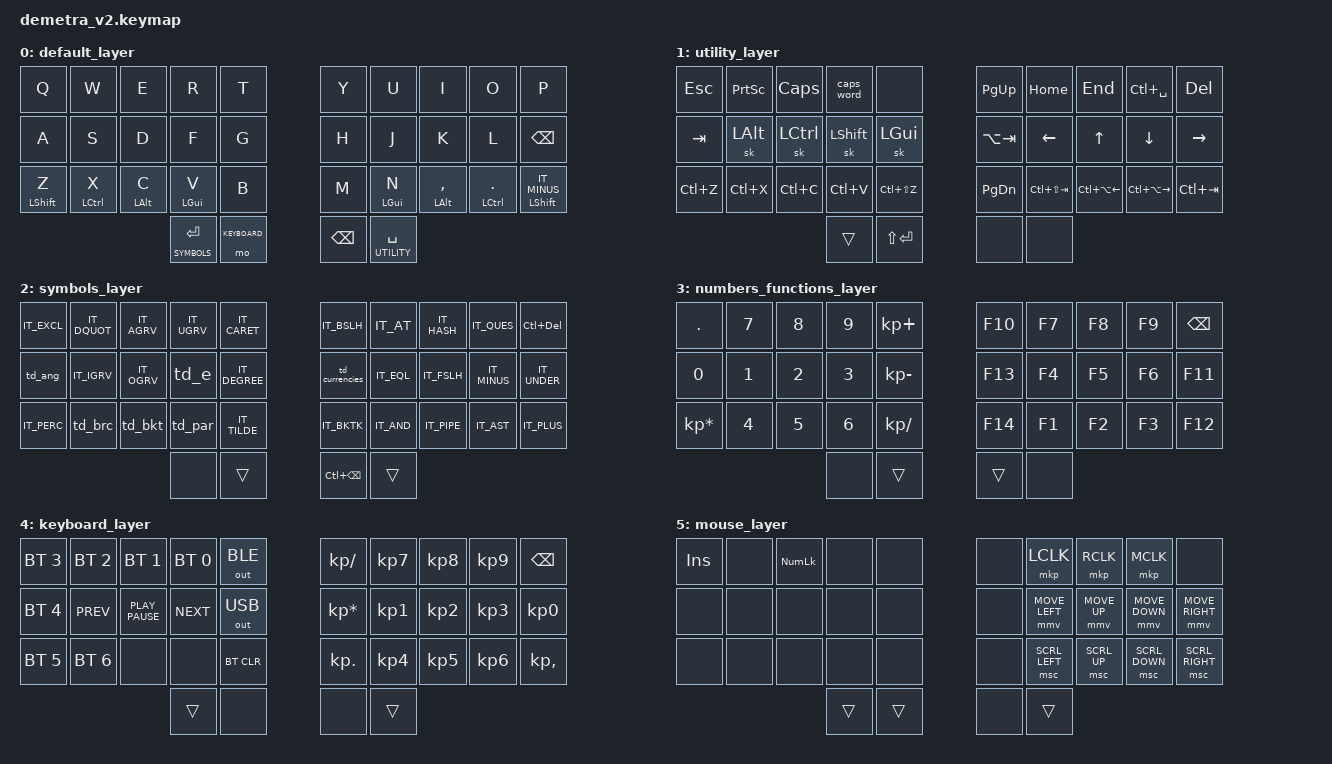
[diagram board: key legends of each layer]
/*
 * Copyright (c) 2020 The ZMK Contributors
 *
 * SPDX-License-Identifier: MIT
 */

/********************
 * Zampone Layout   *
 *                  *
 * Date: 2026-06-11 *
 * v1.0.0           *
 *                  *
 * Derivato da Cotechino_34 v1.1.1: solo i layer essenziali
 * (default, utility, symbols, num_func, keyboard, mouse),
 * con base layer QWERTY al posto di Colemak-DH.
 * Niente macro, niente combo, niente secrets.
 ********************/

#include "./italian.keycodes"

#include <behaviors.dtsi>
#include <dt-bindings/zmk/keys.h>
#include <dt-bindings/zmk/outputs.h>
#include <dt-bindings/zmk/bt.h>

// Mouse Emulation feature
#define ZMK_POINTING_DEFAULT_MOVE_VAL 700  // default: 600
#define ZMK_POINTING_DEFAULT_SCRL_VAL 10   // default: 10

#include <dt-bindings/zmk/pointing.h>

/***************************
*        LAYER CODES       *
****************************/

#define DEFAULT                 0

#define UTILITY                 1

#define SYMBOLS                 2

#define NUM_FUNC                3

#define KEYBOARD                4

#define MOUSE                   5

/*******************
 * ENABLES LOGGING *
 ******************/
zephyr_udc0: &usbd {
    status = "okay";
};

// Caps Word configuration for italian
&caps_word {
    continue-list = <IT_UNDER IT_MINUS BACKSPACE>;
};

/ {

/********************************************************
*   CONDITIONAL LAYERS
*********************************************************/

    conditional_layers {
        compatible = "zmk,conditional-layers";
        numfn_layer {
            if-layers = <UTILITY SYMBOLS>;
            then-layer = <NUM_FUNC>;
        };

        mouse_layer {
            if-layers = <SYMBOLS KEYBOARD>;
            then-layer = <MOUSE>;
        };
    };

/********************************************************
*   BEHAVIORS
*********************************************************/

    behaviors {

        // Behaviors for mods in the bottom row

        lm: left_mods {
            compatible = "zmk,behavior-hold-tap";
            #binding-cells = <2>;
            flavor = "tap-preferred";
            tapping-term-ms = <145>;    // last value: 150
            quick-tap-ms = <80>;        // 125
            bindings = <&kp>, <&kp>;
            hold-trigger-key-positions = <5 6 7 8 9 15 16 17 18 19 25 26 27 28 29>;    // <---[[right-hand keys]]
        };

        rm: right_mods {
            compatible = "zmk,behavior-hold-tap";
            #binding-cells = <2>;
            flavor = "tap-preferred";
            tapping-term-ms = <145>;    // last value: 150
            quick-tap-ms = <80>;        // 125
            bindings = <&kp>, <&kp>;
            hold-trigger-key-positions = <0 1 2 3 4 10 11 12 13 14 20 21 22 23 24>;    // <---[[left-hand keys]]
       };

    // Layer on left thumb is for quick access to symbols used while typing so I need a shorter window for triggering
    // the hold behavior. This is possible as RETURN is not used in the middle of something. Balanced behavior is perfect here
        qlt: quick_layer_toggle {
            compatible = "zmk,behavior-hold-tap";
            #binding-cells = <2>;
            tapping-term-ms = <125>;
            quick-tap-ms = <0>;
            flavor = "balanced";
            bindings = <&mo>, <&kp>;
       };

       // Tap-Dances for accented letters

        td_e: tap_dance_e {
           compatible = "zmk,behavior-tap-dance";
            #binding-cells = <0>;
            tapping-term-ms = <200>;
            bindings = <&kp IT_EGRV>, <&kp IT_EACU>;
        };

        td_par: tap_dance_parentheses {
           compatible = "zmk,behavior-tap-dance";
            #binding-cells = <0>;
            tapping-term-ms = <180>;
            bindings = <&kp IT_LPAR>, <&kp IT_RPAR>;
        };

        td_bkt: tap_dance_brackets {
           compatible = "zmk,behavior-tap-dance";
            #binding-cells = <0>;
            tapping-term-ms = <180>;
            bindings = <&kp IT_LBKT>, <&kp IT_RBKT>;
        };

        td_brc: tap_dance_braces {
           compatible = "zmk,behavior-tap-dance";
            #binding-cells = <0>;
            tapping-term-ms = <180>;
            bindings = <&kp IT_LBRC>, <&kp IT_RBRC>;
        };

        td_ang: tap_dance_angulars_simplifed {
           compatible = "zmk,behavior-tap-dance";
           #binding-cells = <0>;
           tapping-term-ms = <200>;
           bindings = <&kp IT_LESS>, <&kp IT_GREAT>;
        };

        td_currencies: tap_dance_currencies {
           compatible = "zmk,behavior-tap-dance";
           #binding-cells = <0>;
           tapping-term-ms = <200>;
           bindings = <&kp IT_USD>, <&kp IT_EUR>, <&kp IT_PND>, <&kp IT_YEN>;
        };

    };


/********************************************************
*                       KEYMAP                          *
*********************************************************/
        keymap {
                compatible = "zmk,keymap";

/*********************************************
*         DEFAULT layer with QWERTY          *
**********************************************/
// 0
       		default_layer {
		bindings = <
		&kp Q               &kp W               &kp E               &kp R               &kp T           &kp Y               &kp U               &kp I               &kp O               &kp P
		&kp A               &kp S               &kp D               &kp F               &kp G           &kp H               &kp J               &kp K               &kp L               &kp BSPC
		&lm LSHIFT Z        &lm LCTRL X         &lm LALT C          &lm LGUI V          &kp B           &kp M               &rm LGUI N          &rm LALT COMMA      &rm LCTRL DOT       &rm LSHIFT IT_MINUS
                                                &qlt SYMBOLS RET    &mo KEYBOARD                        &kp BACKSPACE       &lt UTILITY SPACE
		>;
		};

/*********************************************
*               UTILITY LAYER                *
*********************************************/
// 1
		    utility_layer {
		bindings = <
		&kp ESC             &kp PRINTSCREEN     &kp CAPS            &caps_word          &none           &kp PAGE_UP         &kp HOME            &kp END             &kp LC(SPACE)       &kp DEL
		&kp TAB             &sk LALT            &sk LCTRL           &sk LSHIFT          &sk LGUI        &kp LA(TAB)         &kp LEFT            &kp UP              &kp DOWN            &kp RIGHT
		&kp LC(Z)           &kp LC(X)           &kp LC(C)           &kp LC(V)           &kp LC(LS(Z))   &kp PAGE_DOWN       &kp LC(LS(TAB))     &kp LC(LA(LEFT))    &kp LC(LA(RIGHT))   &kp LC(TAB)
                                                &trans              &kp LS(RET)                         &none               &none
		>;
		};

/*********************************************
*                   SYMBOLS                  *
*********************************************/
// 2
           symbols_layer {
		bindings = <
		&kp IT_EXCL         &kp IT_DQUOT        &kp IT_AGRV         &kp IT_UGRV         &kp IT_CARET    &kp IT_BSLH         &kp IT_AT           &kp IT_HASH         &kp IT_QUES         &kp LC(DEL)
		&td_ang             &kp IT_IGRV         &kp IT_OGRV         &td_e               &kp IT_DEGREE   &td_currencies      &kp IT_EQL          &kp IT_FSLH         &kp IT_MINUS        &kp IT_UNDER
		&kp IT_PERC         &td_brc             &td_bkt             &td_par             &kp IT_TILDE    &kp IT_BKTK         &kp IT_AND          &kp IT_PIPE         &kp IT_AST          &kp IT_PLUS
                                                &none               &trans                              &kp LC(BACKSPACE)   &trans
		>;
		};

/*********************************************
*              NUMBERS/FUNCTIONS             *
*********************************************/
// 3 <- 1+2
		    numbers_functions_layer {
		bindings = <
		&kp DOT             &kp N7              &kp N8              &kp N9              &kp KP_PLUS          &kp F10             &kp F7              &kp F8              &kp F9              &kp BSPC
        &kp N0              &kp N1              &kp N2              &kp N3              &kp KP_MINUS         &kp F13             &kp F4              &kp F5              &kp F6              &kp F11
        &kp KP_ASTERISK     &kp N4              &kp N5              &kp N6              &kp KP_SLASH         &kp F14             &kp F1              &kp F2              &kp F3              &kp F12
                                                &none               &trans                                   &trans              &none
		>;
		};

/*********************************************
*                  KEYBOARD                  *
*********************************************/
// 4
            keyboard_layer {
        bindings = <
        &bt BT_SEL 3        &bt BT_SEL 2        &bt BT_SEL 1        &bt BT_SEL 0        &out OUT_BLE    &kp KP_DIVIDE         &kp KP_N7           &kp KP_N8           &kp KP_N9           &kp BSPC
        &bt BT_SEL 4        &kp K_PREV          &kp K_PLAY_PAUSE    &kp K_NEXT          &out OUT_USB    &kp KP_MULTIPLY       &kp KP_N1           &kp KP_N2           &kp KP_N3           &kp KP_N0
        &bt BT_SEL 5        &bt BT_SEL 6        &none               &none               &bt BT_CLR      &kp KP_DOT            &kp KP_N4           &kp KP_N5           &kp KP_N6           &kp KP_COMMA
                                                &trans              &none                               &none               &trans
        >;
        };

/******************************************
*                 MOUSE                  *
*****************************************/
// 5
            mouse_layer {
		bindings = <
		&kp INSERT          &none               &kp KP_NUMLOCK      &none               &none                   &none               &mkp LCLK           &mkp RCLK           &mkp MCLK           &none
		&none               &none               &none               &none               &none                   &none               &mmv MOVE_LEFT      &mmv MOVE_UP        &mmv MOVE_DOWN      &mmv MOVE_RIGHT
		&none               &none               &none               &none               &none                   &none               &msc SCRL_LEFT      &msc SCRL_UP        &msc SCRL_DOWN      &msc SCRL_RIGHT
                                                        &trans              &trans                              &none               &trans
		>;
		};

    };

};
